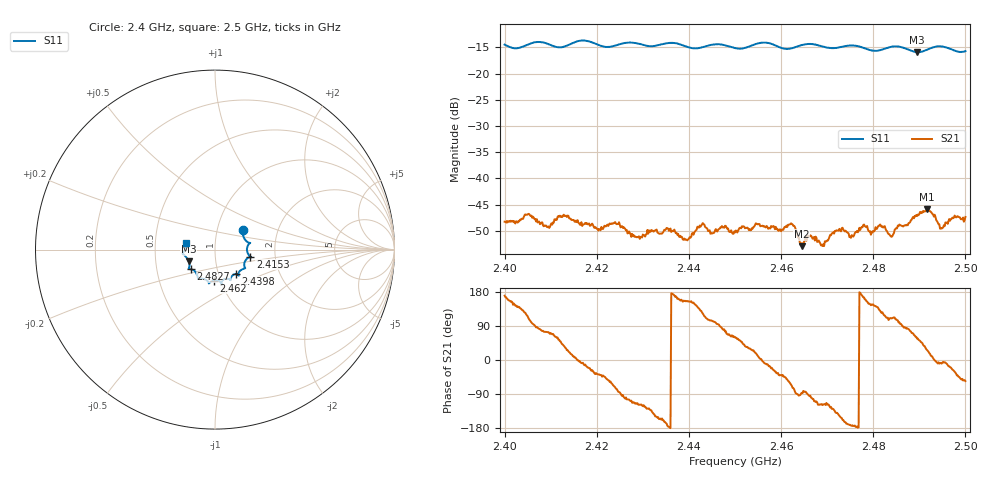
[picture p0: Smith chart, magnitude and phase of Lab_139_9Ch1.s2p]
# Hz S RI R 50
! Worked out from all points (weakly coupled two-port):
!   601 points, 2.4 GHz to 2.5 GHz, reference 50 ohm
!   highest |S21| = -45.88 dB at 2.4917 GHz (marker M1); lowest = -52.9 dB at 2.4645 GHz (marker M2)
!   lowest |S11| = -15.9 dB at 2.4895 GHz (marker M3), VSWR 1.38, Z = 37 - j5.01 ohm
!   |S11| at or under -10 dB: start of sweep to end of sweep
!   S12 and S22 are empty: the file has one direction only
!   S11 on the Smith chart (normalised r, x): 2.4 GHz: 1.33, +0.30; 2.4153 GHz: 1.48, -0.12; 2.4398 GHz: 1.21, -0.34; 2.462 GHz: 0.93, -0.33; 2.4827 GHz: 0.75, -0.17; 2.5 GHz: 0.72, +0.06
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2.4e9  0.1554 0.107  -0.00381 0.000686  0 0  0 0
2.404833e9  0.1831 0.0405  -0.00211 0.00399  0 0  0 0
2.409333e9  0.1898 0.0321  0.000989 0.00329  0 0  0 0
2.415333e9  0.1962 -0.0389  0.00384 0.000458  0 0  0 0
2.416667e9  0.2021 -0.0427  0.00379 -0.000547  0 0  0 0
2.424333e9  0.1633 -0.0906  0.00084 -0.00357  0 0  0 0
2.429e9  0.162 -0.1058  -0.00129 -0.00243  0 0  0 0
2.433333e9  0.1306 -0.1336  -0.00265 -0.00146  0 0  0 0
2.439833e9  0.1156 -0.1359  -0.00239 0.00109  0 0  0 0
2.442833e9  0.0899 -0.1532  -0.00213 0.00296  0 0  0 0
2.45e9  0.0653 -0.1625  0.0015 0.00266  0 0  0 0
2.462e9  -0.00507 -0.1729  0.00172 -0.00324  0 0  0 0
2.4645e9  -0.0305 -0.1846  0.000133 -0.00226  0 0  0 0
2.466667e9  -0.0344 -0.1882  -0.000498 -0.00274  0 0  0 0
2.469e9  -0.0397 -0.177  -0.0011 -0.00198  0 0  0 0
2.472167e9  -0.0717 -0.1609  -0.00242 -0.00208  0 0  0 0
2.482667e9  -0.1351 -0.109  -0.00138 0.00301  0 0  0 0
2.483333e9  -0.1401 -0.1087  -0.000788 0.00284  0 0  0 0
2.4895e9  -0.1458 -0.066  0.00241 0.00366  0 0  0 0
2.491667e9  -0.1644 -0.0375  0.00455 0.00227  0 0  0 0
2.495e9  -0.1801 -0.0197  0.00334 -0.00041  0 0  0 0
2.5e9  -0.1589 0.0387  0.00243 -0.00355  0 0  0 0
